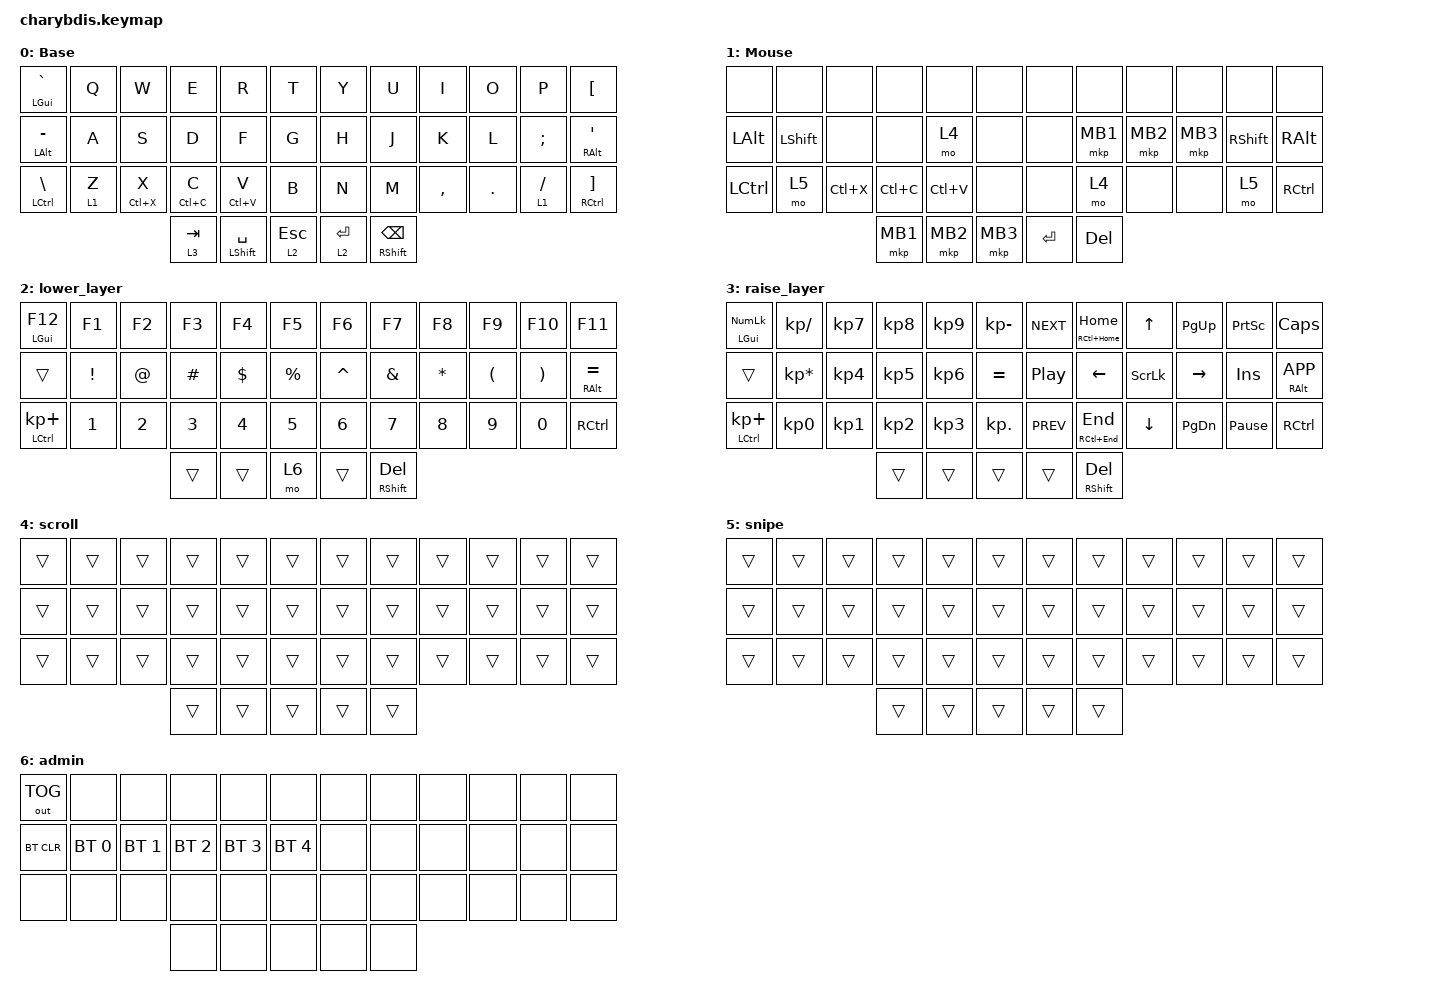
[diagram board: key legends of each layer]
#include <behaviors.dtsi>
#include <dt-bindings/zmk/bt.h>
#include <dt-bindings/zmk/keys.h>
#include <dt-bindings/zmk/outputs.h>
#include <dt-bindings/zmk/pointing.h>

#define BASE 0
#define MOUSE 1
#define LOWER 2
#define RAISE 3
#define SCROLL 4
#define SNIPE 5

&mt {
    tapping-term-ms = <300>;
    quick-tap-ms = <200>;
};

&lt { quick-tap-ms = <200>; };

/ {
    combos {
        compatible = "zmk,combos";
        timeout-ms = <20>;
        require-prior-idle-ms = <300>;

        bootloader_central {
            key-positions = <32 33>;
            bindings = <&bootloader>;
            require-prior-idle-ms = <2000>;
        };

        combo_unlock {
            key-positions = <0 4>;
            bindings = <&studio_unlock>;
        };

        ctrl_shift_esc {
            bindings = <&kp LS(LC(ESCAPE))>;
            key-positions = <0 1>;
        };

        ctrl_alt_del {
            bindings = <&kp LC(LA(DELETE))>;
            key-positions = <12 13>;
        };

        assig {
            bindings = <&assignment>;
            key-positions = <15 16>;
        };

        send_prm {
            bindings = <&send_param>;
            key-positions = <19 20>;
        };

        alt_print_scr {
            bindings = <&kp LA(PRINTSCREEN)>;
            key-positions = <16 17>;
        };

        B2B {
            bindings = <&B2B>;
            key-positions = <29 28>;
        };

        mouse_layer {
            bindings = <&to 1>;
            key-positions = <39 40>;
            layers = <0>;
        };

        base_layer {
            bindings = <&to 0>;
            key-positions = <39 40>;
            layers = <1>;
        };
    };

    chosen { zmk,physical-layout = &charybdis_6col_layout; };

    macros {
        assignment: assignment {
            compatible = "zmk,behavior-macro";
            #binding-cells = <0>;
            bindings = <&kp COLON &kp EQUAL>;
            label = "ASSIGNMENT";
        };

        send_param: send_param {
            compatible = "zmk,behavior-macro";
            #binding-cells = <0>;
            bindings = <&kp EQUAL &kp GREATER_THAN>;
            label = "SEND_PARAM";
        };

        B2B: B2B {
            compatible = "zmk,behavior-macro";
            #binding-cells = <0>;
            bindings = <&kp LS(LA(NUMBER_0)) &kp LS(B) &kp N2 &kp LS(B)>;
            label = "B2B";
        };
    };

    behaviors {
        np_ht: np_ht {
            compatible = "zmk,behavior-hold-tap";
            label = "NP_HT";
            bindings = <&kp>, <&kp>;

            #binding-cells = <2>;
            tapping-term-ms = <300>;
            require-prior-idle-ms = <300>;
            flavor = "tap-preferred";
        };
    };

    keymap {
        compatible = "zmk,keymap";

        Base {
            display-name = "Base";
            bindings = <
&mt LEFT_GUI GRAVE   &kp Q    &kp W           &kp E           &kp R                 &kp T           &kp Y        &kp U                      &kp I      &kp O    &kp P          &kp LEFT_BRACKET
&mt LEFT_ALT MINUS   &kp A    &kp S           &kp D           &kp F                 &kp G           &kp H        &kp J                      &kp K      &kp L    &kp SEMICOLON  &mt RIGHT_ALT SQT
&mt LCTRL BACKSLASH  &lt 1 Z  &np_ht LC(X) X  &np_ht LC(C) C  &np_ht LC(V) V        &kp B           &kp N        &kp M                      &kp COMMA  &kp DOT  &lt 1 SLASH    &mt RCTRL RIGHT_BRACKET
                                              &lt 3 TAB       &mt LEFT_SHIFT SPACE  &lt 2 ESCAPE    &lt 2 ENTER  &mt RIGHT_SHIFT BACKSPACE
            >;
        };

        Mouse {
            display-name = "Mouse";
            bindings = <
&none         &none           &none      &none      &none      &none       &none      &none       &none     &none     &none            &none
&kp LEFT_ALT  &kp LEFT_SHIFT  &none      &none      &mo 4      &none       &none      &mkp MB1    &mkp MB2  &mkp MB3  &kp RIGHT_SHIFT  &kp RIGHT_ALT
&kp LCTRL     &mo 5           &kp LC(X)  &kp LC(C)  &kp LC(V)  &none       &none      &mo 4       &none     &none     &mo 5            &kp RCTRL
                                         &mkp MB1   &mkp MB2   &mkp MB3    &kp ENTER  &kp DELETE
            >;
        };

        lower_layer {
            bindings = <
&mt LEFT_GUI F12   &kp F1           &kp F2        &kp F3        &kp F4        &kp F5         &kp F6        &kp F7                  &kp F8        &kp F9                &kp F10                &kp F11
&trans             &kp EXCLAMATION  &kp AT_SIGN   &kp HASH      &kp DOLLAR    &kp PERCENT    &kp CARET     &kp AMPERSAND           &kp ASTERISK  &kp LEFT_PARENTHESIS  &kp RIGHT_PARENTHESIS  &mt RIGHT_ALT EQUAL
&mt LCTRL KP_PLUS  &kp NUMBER_1     &kp NUMBER_2  &kp NUMBER_3  &kp NUMBER_4  &kp N5         &kp NUMBER_6  &kp NUMBER_7            &kp NUMBER_8  &kp NUMBER_9          &kp N0                 &kp RCTRL
                                                  &trans        &trans        &mo 6          &trans        &mt RIGHT_SHIFT DELETE
            >;
        };

        raise_layer {
            bindings = <
&mt LEFT_GUI KP_NUM  &kp KP_SLASH     &kp KP_NUMBER_7  &kp KP_NUMBER_8  &kp KP_NUMBER_9  &kp KP_MINUS    &kp C_NEXT  &mt RC(HOME) HOME       &kp UP_ARROW    &kp PAGE_UP    &kp PRINTSCREEN  &kp CAPS
&trans               &kp KP_MULTIPLY  &kp KP_NUMBER_4  &kp KP_NUMBER_5  &kp KP_NUMBER_6  &kp EQUAL       &kp C_PP    &kp LEFT_ARROW          &kp SCROLLLOCK  &kp RIGHT      &kp INSERT       &mt RIGHT_ALT K_APP
&mt LCTRL KP_PLUS    &kp KP_NUMBER_0  &kp KP_NUMBER_1  &kp KP_NUMBER_2  &kp KP_NUMBER_3  &kp KP_DOT      &kp C_PREV  &mt RC(END) END         &kp DOWN        &kp PAGE_DOWN  &kp PAUSE_BREAK  &kp RCTRL
                                                       &trans           &trans           &trans          &trans      &mt RIGHT_SHIFT DELETE
            >;
        };

        scroll {
            bindings = <
&trans  &trans  &trans  &trans  &trans  &trans    &trans  &trans  &trans  &trans  &trans  &trans
&trans  &trans  &trans  &trans  &trans  &trans    &trans  &trans  &trans  &trans  &trans  &trans
&trans  &trans  &trans  &trans  &trans  &trans    &trans  &trans  &trans  &trans  &trans  &trans
                        &trans  &trans  &trans    &trans  &trans
            >;
        };

        snipe {
            bindings = <
&trans  &trans  &trans  &trans  &trans  &trans    &trans  &trans  &trans  &trans  &trans  &trans
&trans  &trans  &trans  &trans  &trans  &trans    &trans  &trans  &trans  &trans  &trans  &trans
&trans  &trans  &trans  &trans  &trans  &trans    &trans  &trans  &trans  &trans  &trans  &trans
                        &trans  &trans  &trans    &trans  &trans
            >;
        };

        admin {
            bindings = <
&out OUT_TOG  &none         &none         &none         &none         &none           &none  &none  &none  &none  &none  &none
&bt BT_CLR    &bt BT_SEL 0  &bt BT_SEL 1  &bt BT_SEL 2  &bt BT_SEL 3  &bt BT_SEL 4    &none  &none  &none  &none  &none  &none
&none         &none         &none         &none         &none         &none           &none  &none  &none  &none  &none  &none
                                          &none         &none         &none           &none  &none
            >;
        };
    };
};
